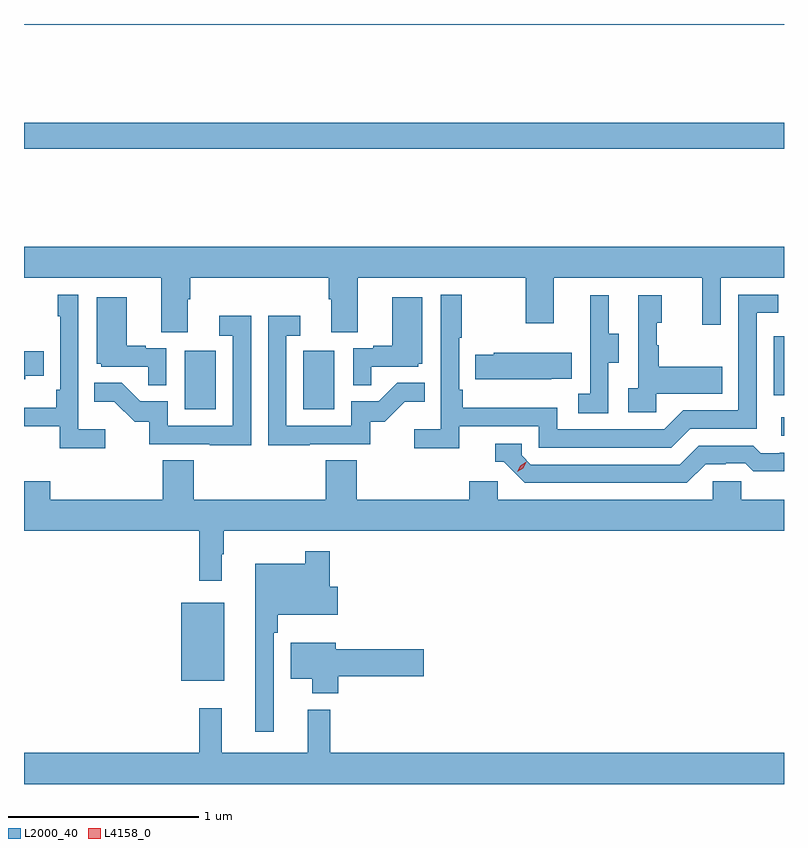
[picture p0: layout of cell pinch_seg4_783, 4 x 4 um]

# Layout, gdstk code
import gdstk
lib = gdstk.Library(unit=1e-6, precision=1e-09)
def R(c, l, rs):  # rectangles x0, y0, x1, y1
    for r in rs: c.add(gdstk.rectangle(r[:2], r[2:], *l))
def P(c, l, *ps):  # polygons
    for p in ps: c.add(gdstk.Polygon(p, *l))
L2000_40 = (2000, 40)
L4158_0 = (4158, 0)

pinch_seg4_783 = lib.new_cell('pinch_seg4_783')
R(pinch_seg4_783, L2000_40, [(820.91,817.343,821.137,817.753), (824.067,818.634,824.082,818.73), (820.928,818.772,821.092,819.079), (821.552,818.772,821.716,819.079), (824.028,818.847,824.082,819.156), (820.082,820.144,824.082,820.28), (820.082,820.796,824.082,820.8)])
P(pinch_seg4_783, L2000_40, [(820.945,819.352),(820.958,819.352),(820.958,819.464),(821.687,819.464),(821.687,819.352),(821.699,819.352),(821.699,819.178),(821.839,819.178),(821.839,819.464),(822.724,819.464),(822.724,819.225),(822.871,819.225),(822.871,819.464),(823.652,819.464),(823.652,819.216),(823.749,819.216),(823.749,819.464),(824.082,819.464),(824.082,819.628),(820.082,819.628),(820.082,819.464),(820.805,819.464),(820.805,819.178),(820.945,819.178)],
  [(820.51,818.668),(820.368,818.668),(820.368,819.376),(820.26,819.376),(820.26,819.263),(820.272,819.263),(820.272,818.875),(820.252,818.875),(820.252,818.779),(820.082,818.779),(820.082,818.682),(820.271,818.682),(820.271,818.566),(820.51,818.566)],
  [(822.374,818.682),(822.792,818.682),(822.792,818.571),(823.489,818.571),(823.588,818.67),(823.938,818.67),(823.938,819.279),(824.051,819.279),(824.051,819.375),(823.842,819.375),(823.842,818.766),(823.551,818.766),(823.452,818.667),(822.888,818.667),(822.888,818.779),(822.392,818.779),(822.392,818.875),(822.372,818.875),(822.372,819.148),(822.385,819.148),(822.385,819.376),(822.276,819.376),(822.276,818.668),(822.135,818.668),(822.135,818.566),(822.374,818.566)],
  [(823.158,819.016),(823.213,819.016),(823.213,819.171),(823.159,819.171),(823.159,819.373),(823.061,819.373),(823.061,819.159),(823.062,819.159),(823.062,818.855),(822.999,818.855),(822.999,818.752),(823.158,818.752)],
  [(823.41,818.855),(823.757,818.855),(823.757,818.995),(823.423,818.995),(823.423,819.11),(823.413,819.11),(823.413,819.228),(823.438,819.228),(823.438,819.373),(823.314,819.373),(823.314,818.882),(823.263,818.882),(823.263,818.757),(823.41,818.757)],
  [(821.909,818.997),(822.156,818.997),(822.156,819.012),(822.178,819.012),(822.178,819.361),(822.02,819.361),(822.02,819.106),(821.921,819.106),(821.921,819.093),(821.814,819.093),(821.814,818.899),(821.909,818.899)],
  [(820.83,819.093),(820.724,819.093),(820.724,819.106),(820.624,819.106),(820.624,819.361),(820.466,819.361),(820.466,819.012),(820.488,819.012),(820.488,818.997),(820.735,818.997),(820.735,818.899),(820.83,818.899)],
  [(821.585,818.589),(821.904,818.589),(821.904,818.706),(821.98,818.706),(822.087,818.813),(822.191,818.813),(822.191,818.912),(822.047,818.912),(821.949,818.814),(821.805,818.814),(821.805,818.685),(821.463,818.685),(821.463,819.159),(821.536,819.159),(821.536,819.265),(821.367,819.265),(821.367,818.584),(821.585,818.584)],
  [(821.277,819.265),(821.109,819.265),(821.109,819.159),(821.181,819.159),(821.181,818.685),(820.839,818.685),(820.839,818.814),(820.695,818.814),(820.597,818.912),(820.453,818.912),(820.453,818.813),(820.557,818.813),(820.664,818.706),(820.741,818.706),(820.741,818.589),(821.059,818.589),(821.059,818.584),(821.277,818.584)],
  [(820.089,818.948),(820.187,818.948),(820.187,819.078),(820.082,819.078),(820.082,818.93),(820.089,818.93)],
  [(822.857,818.933),(822.965,818.933),(822.965,819.07),(822.555,819.07),(822.555,819.06),(822.457,819.06),(822.457,818.93),(822.857,818.93)],
  [(823.669,818.484),(823.776,818.484),(823.776,818.487),(823.879,818.487),(823.921,818.445),(824.082,818.445),(824.082,818.544),(824.059,818.544),(824.059,818.541),(823.96,818.541),(823.921,818.58),(823.632,818.58),(823.533,818.481),(822.75,818.481),(822.702,818.529),(822.702,818.592),(822.563,818.592),(822.563,818.496),(822.606,818.496),(822.717,818.385),(823.57,818.385)],
  [(821.122,818.009),(821.134,818.009),(821.134,818.132),(824.082,818.132),(824.082,818.296),(823.857,818.296),(823.857,818.394),(823.707,818.394),(823.707,818.296),(822.576,818.296),(822.576,818.394),(822.425,818.394),(822.425,818.296),(821.834,818.296),(821.834,818.504),(821.669,818.504),(821.669,818.296),(820.976,818.296),(820.976,818.504),(820.811,818.504),(820.811,818.296),(820.22,818.296),(820.22,818.394),(820.082,818.394),(820.082,818.132),(821.005,818.132),(821.005,817.869),(821.122,817.869)],
  [(821.397,817.595),(821.417,817.595),(821.417,817.691),(821.734,817.691),(821.734,817.839),(821.69,817.839),(821.69,818.026),(821.562,818.026),(821.562,817.96),(821.3,817.96),(821.3,817.074),(821.397,817.074)],
  [(821.735,817.366),(822.187,817.366),(822.187,817.508),(821.722,817.508),(821.722,817.543),(821.486,817.543),(821.486,817.355),(821.6,817.355),(821.6,817.277),(821.735,817.277)],
  [(824.082,816.964),(821.693,816.964),(821.693,817.192),(821.576,817.192),(821.576,816.964),(821.123,816.964),(821.123,817.198),(821.005,817.198),(821.005,816.964),(820.082,816.964),(820.082,816.8),(824.082,816.8)])
P(pinch_seg4_783, L4158_0, [(822.679,818.443),(822.679,818.443),(822.695,818.476),(822.725,818.495),(822.725,818.495),(822.725,818.495),(822.71,818.463),(822.679,818.443)])

lib.write_gds('pinch_seg4_783.gds')
